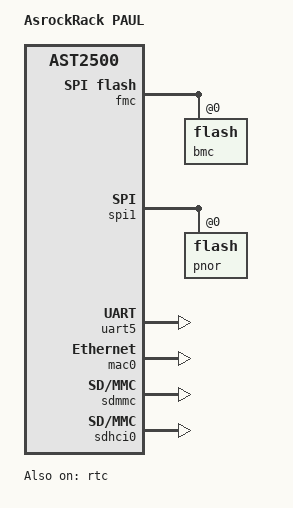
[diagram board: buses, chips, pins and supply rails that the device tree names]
// SPDX-License-Identifier: GPL-2.0+
/dts-v1/;

#include "aspeed-g5.dtsi"
#include "config.h"

/ {
	model = "AsrockRack PAUL";
	compatible = "aspeed,ast2500";

	aliases {
		con = &uart5;
	};
	chosen {
		stdout-path = &uart5;
	};

	memory@80000000 {
		reg = <0x80000000 CONFIG_RAM_SIZE>;
	};
};

&fmc {
	status = "okay";
	flash@0 {
		status = "okay";
		m25p,fast-read;
		label = "bmc";
#include "ubmc-flash-layout.dtsi"
	};
};

&spi1 {
	status = "okay";
	flash@0 {
		status = "okay";
		m25p,fast-read;
		label = "pnor";
	};
};

// /dev/ttyS4: DEBUG_1 header
&uart5 {
	status = "okay";
};

#ifndef BOOTLOADER

&mac0 {
	status = "okay";

	pinctrl-names = "default";
	pinctrl-0 = <&pinctrl_rgmii1_default &pinctrl_mdio1_default>;
};

&sdmmc {
	status = "okay";
};

&sdhci0 {
	status = "okay";

	pinctrl-names = "default";
	pinctrl-0 = <&pinctrl_sd1_default>;
};

&rtc {
	status = "okay";
};

#endif /* !BOOTLOADER */
